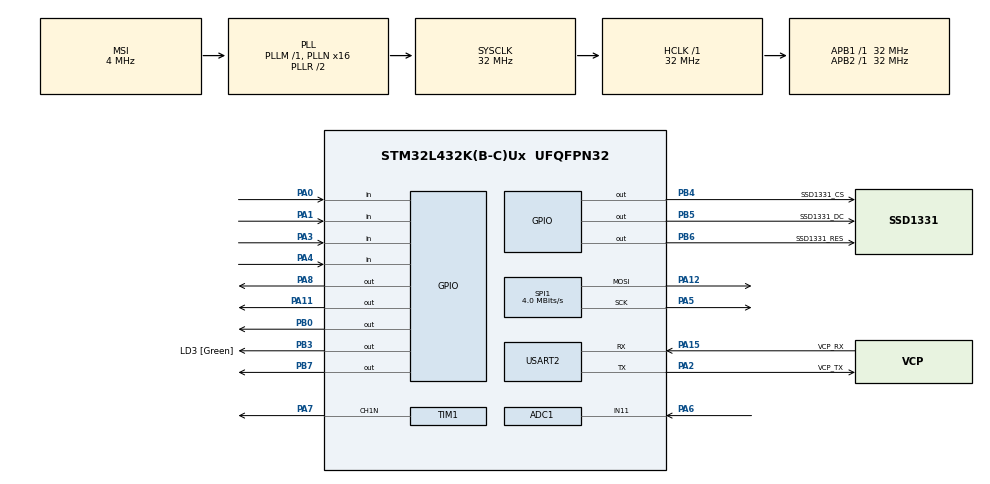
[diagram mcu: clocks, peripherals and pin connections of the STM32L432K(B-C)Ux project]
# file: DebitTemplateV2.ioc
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ADC1.Channel-0\#ChannelRegularConversion=ADC_CHANNEL_11
ADC1.NbrOfConversionFlag=1
ADC1.OffsetNumber-0\#ChannelRegularConversion=ADC_OFFSET_NONE
ADC1.Rank-0\#ChannelRegularConversion=1
ADC1.SamplingTime-0\#ChannelRegularConversion=ADC_SAMPLETIME_2CYCLES_5
ADC1.master=1
Mcu.Family=STM32L4
Mcu.Name=STM32L432K(B-C)Ux
Mcu.Package=UFQFPN32
NVIC.PriorityGroup=NVIC_PRIORITYGROUP_4
PA0.GPIO_PuPd=GPIO_PULLUP
PA0.Signal=GPIO_Input
PA1.GPIO_PuPd=GPIO_PULLUP
PA1.Signal=GPIO_Input
PA11.Signal=GPIO_Output
PA12.Mode=TX_Only_Simplex_Unidirect_Master
PA12.Signal=SPI1_MOSI
PA13\ (JTMS-SWDIO).GPIO_Label=SWDIO
PA13\ (JTMS-SWDIO).Mode=Serial_Wire
PA13\ (JTMS-SWDIO).Signal=SYS_JTMS-SWDIO
PA14\ (JTCK-SWCLK).GPIO_Label=SWCLK
PA14\ (JTCK-SWCLK).Mode=Serial_Wire
PA14\ (JTCK-SWCLK).Signal=SYS_JTCK-SWCLK
PA15\ (JTDI).GPIO_Label=VCP_RX
PA15\ (JTDI).Mode=Asynchronous
PA15\ (JTDI).Signal=USART2_RX
PA2.GPIO_Label=VCP_TX
PA2.Mode=Asynchronous
PA2.Signal=USART2_TX
PA3.GPIO_PuPd=GPIO_PULLUP
PA3.Signal=GPIO_Input
PA4.GPIO_PuPd=GPIO_PULLUP
PA4.Signal=GPIO_Input
PA5.Mode=TX_Only_Simplex_Unidirect_Master
PA5.Signal=SPI1_SCK
PA6.Signal=ADCx_IN11
PA7.Mode=PWM Generation1 CH1N
PA7.Signal=TIM1_CH1N
PA8.Signal=GPIO_Output
PB0.GPIO_PuPd=GPIO_PULLDOWN
PB0.Signal=GPIO_Output
PB3\ (JTDO-TRACESWO).GPIO_Label=LD3 [Green]
PB3\ (JTDO-TRACESWO).Signal=GPIO_Output
PB4\ (NJTRST).GPIO_Label=SSD1331_CS
PB4\ (NJTRST).Signal=GPIO_Output
PB5.GPIO_Label=SSD1331_DC
PB5.Signal=GPIO_Output
PB6.GPIO_Label=SSD1331_RES
PB6.Signal=GPIO_Output
PB7.GPIO_PuPd=GPIO_PULLDOWN
PB7.Signal=GPIO_Output
PC14-OSC32_IN\ (PC14).Mode=LSE-External-Oscillator
PC14-OSC32_IN\ (PC14).Signal=RCC_OSC32_IN
PC15-OSC32_OUT\ (PC15).Mode=LSE-External-Oscillator
PC15-OSC32_OUT\ (PC15).Signal=RCC_OSC32_OUT
ProjectManager.HeapSize=0x200
ProjectManager.StackSize=0x400
ProjectManager.TargetToolchain=STM32CubeIDE
RCC.ADCFreq_Value=32000000
RCC.AHBFreq_Value=32000000
RCC.APB1Freq_Value=32000000
RCC.APB1TimFreq_Value=32000000
RCC.APB2Freq_Value=32000000
RCC.APB2TimFreq_Value=32000000
RCC.CortexFreq_Value=32000000
RCC.HCLKFreq_Value=32000000
RCC.HSE_VALUE=8000000
RCC.HSI16_VALUE=16000000
RCC.HSI48_VALUE=48000000
RCC.HSI_VALUE=16000000
RCC.MSI_VALUE=4000000
RCC.PLLMUL=RCC_PLLMUL_4
RCC.PLLN=16
RCC.PLLSAI1N=16
RCC.SYSCLKFreq_VALUE=32000000
RCC.SYSCLKSource=RCC_SYSCLKSOURCE_PLLCLK
RCC.USBFreq_Value=32000000
RCC.VCOOutputFreq_Value=64000000
SH.ADCx_IN11.0=ADC1_IN11,IN11-Single-Ended
SPI1.BaudRatePrescaler=SPI_BAUDRATEPRESCALER_8
SPI1.CalculateBaudRate=4.0 MBits/s
SPI1.DataSize=SPI_DATASIZE_8BIT
SPI1.Direction=SPI_DIRECTION_2LINES
SPI1.Mode=SPI_MODE_MASTER
SPI1.VirtualType=VM_MASTER
TIM1.Channel-PWM\ Generation1\ CH1N=TIM_CHANNEL_1
TIM1.Period=100
USART2.VirtualMode-Asynchronous=VM_ASYNC
VP_TIM16_VS_ClockSourceINT.Mode=Enable_Timer
board=NUCLEO-L432KC

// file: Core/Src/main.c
/* USER CODE BEGIN Header */
/*******************************************************************************
 * FILE               : main.c
 * PROJECT			   : PROG8126 - #Assignment 4
 * PROGRAMMER		   : Vivek Solanki (8925804)
 * First Version	   : 04/10/2023
 * Description        : Demonstrates a debit machine banking transaction that implements a state machine.
 * State machine diagram is found on slide 14 of Week 9 Switch Statement and State Machine.pptx
 *
 * Switches are assigned as follows
 * note: these pins are set in the debounceInit functions and do not need to be configured in cube
 * PA0			PA1			PA4			PA3
 * chequing		savings		ok			cancel
 * Note: Don't use PA2 as it is connected to VCP TX and you'll
 * lose printf output ability.
 * ******************************************************************************
 */
/* USER CODE END Header */
#include "main.h"

/* USER CODE BEGIN Includes */
#include <unistd.h>
#include <stdio.h>
#include "debounce.h"
#include "ssd1331.h"
#include "fonts.h"
#include <stdbool.h>
#include <string.h>
/* USER CODE END Includes */

/* USER CODE BEGIN PTD */
typedef enum
{
	PUSHBUTTON_NONE,
	PUSHBUTTON_CHEQUING,
	PUSHBUTTON_SAVINGS,
	PUSHBUTTON_OKAY,
	PUSHBUTTON_CANCEL,
	PUSHBUTTON_MAX
} pushButton_e;

typedef enum
{
	TRANSACTION_STATE_WELCOME,
	TRANSACTION_STATE_OK_CANCEL,
	TRANSACTION_STATE_CHEQ_OR_SAVING,
	TRANSACTION_STATE_RECEIVE_PIN,
	TRANSACTION_STATE_VALIDATE_PIN,
	TRANSACTION_STATE_SUCCESS,
	TRANSACTION_STATE_FAILED,
	TRANSACTION_STATE_MAX
} transactionState_e;

typedef enum
{
	TRANSACTION_SUCCESSFULL,
	TRANSACTION_FAIL_INVALID_PIN,
	TRANSACTION_FAIL_INSUFICIENT_BALANCE,
	TRANSACTION_FAIL_USER_CALCELLED,
	TRANSACTION_FAIL_MAX
} transactionRespCode_e;
/* USER CODE END PTD */

/* USER CODE BEGIN PD */
// PIN of USERS for authorising payment
#define STRING_BUFF_LEN_MAX					26
#define	MAX_PIN_STORAGE						10
#define	MAX_PIN_LEN__MAX					5

const char PIN[10][5] = { "1234", "5678", "1357", "2468", "9876", "5432", "1000", "1618",
                "1278", "1148" };
char userEnteredPIN[5];
bool isAccessGranted = false;
transactionRespCode_e transactionFailCause = TRANSACTION_FAIL_MAX;
char stringBuffer[STRING_BUFF_LEN_MAX];
/* USER CODE END PD */

ADC_HandleTypeDef hadc1;

SPI_HandleTypeDef hspi1;

TIM_HandleTypeDef htim1;
TIM_HandleTypeDef htim16;

UART_HandleTypeDef huart2;

/* USER CODE BEGIN PV */
static const int16_t chequingPbPin = 0; //setting the pin assigned to each pb
static const int16_t savingsPbPin = 1;	//don't use pin 2 as it's connected
static const int16_t okPbPin = 3;		//to VCP TX
static const int16_t cancelPbPin = 4;
static transactionState_e transactionState = TRANSACTION_STATE_WELCOME;
static float chequingBalance = 10000.0;
static float savingBalance = 10000.0;
pushButton_e pbPressed = PUSHBUTTON_NONE; //will hold pushbutton defined above depending on
pushButton_e isChequingSaving = PUSHBUTTON_NONE;

/* USER CODE END PV */

void SystemClock_Config(void);
static void MX_GPIO_Init(void);
static void MX_USART2_UART_Init(void);
static void MX_TIM1_Init(void);
static void MX_SPI1_Init(void);
static void MX_TIM16_Init(void);
static void MX_ADC1_Init(void);
void displayRaminingBalance(void);
void displayTransactionSuccessFull();

/* USER CODE BEGIN 0 */

static void changeSpeakerFrequency(TIM_HandleTypeDef *htim,
		uint32_t newFrequency)
{

	//HAL_TIMEx_PWMN_Stop(htim, TIM_CHANNEL_1);

	// calculate the new period based off of frequency input
	uint32_t newPeriod = 1000000000 / (newFrequency * 250);

	TIM_ClockConfigTypeDef sClockSourceConfig = { 0 };
	TIM_MasterConfigTypeDef sMasterConfig = { 0 };
	TIM_OC_InitTypeDef sConfigOC = { 0 };
	TIM_BreakDeadTimeConfigTypeDef sBreakDeadTimeConfig = { 0 };

	htim->Instance = TIM1;
	htim->Init.Prescaler = 0;
	htim->Init.CounterMode = TIM_COUNTERMODE_UP;
	htim->Init.Period = newPeriod;
	htim->Init.ClockDivision = TIM_CLOCKDIVISION_DIV1;
	htim->Init.RepetitionCounter = 0;
	htim->Init.AutoReloadPreload = TIM_AUTORELOAD_PRELOAD_DISABLE;
	if (HAL_TIM_Base_Init(htim) != HAL_OK)
	{
		Error_Handler();
	}
	sClockSourceConfig.ClockSource = TIM_CLOCKSOURCE_INTERNAL;
	if (HAL_TIM_ConfigClockSource(htim, &sClockSourceConfig) != HAL_OK)
	{
		Error_Handler();
	}
	if (HAL_TIM_PWM_Init(htim) != HAL_OK)
	{
		Error_Handler();
	}
	sMasterConfig.MasterOutputTrigger = TIM_TRGO_RESET;
	sMasterConfig.MasterOutputTrigger2 = TIM_TRGO2_RESET;
	sMasterConfig.MasterSlaveMode = TIM_MASTERSLAVEMODE_DISABLE;
	if (HAL_TIMEx_MasterConfigSynchronization(htim, &sMasterConfig)
			!= HAL_OK)
	{
		Error_Handler();
	}
	sConfigOC.OCMode = TIM_OCMODE_PWM1;
	sConfigOC.Pulse = htim1.Init.Period/2;
	sConfigOC.OCPolarity = TIM_OCPOLARITY_HIGH;
	sConfigOC.OCNPolarity = TIM_OCNPOLARITY_HIGH;
	sConfigOC.OCFastMode = TIM_OCFAST_DISABLE;
	sConfigOC.OCIdleState = TIM_OCIDLESTATE_RESET;
	sConfigOC.OCNIdleState = TIM_OCNIDLESTATE_RESET;
	if (HAL_TIM_PWM_ConfigChannel(&htim1, &sConfigOC, TIM_CHANNEL_1)
			!= HAL_OK)
	{
		Error_Handler();
	}
	sBreakDeadTimeConfig.OffStateRunMode = TIM_OSSR_DISABLE;
	sBreakDeadTimeConfig.OffStateIDLEMode = TIM_OSSI_DISABLE;
	sBreakDeadTimeConfig.LockLevel = TIM_LOCKLEVEL_OFF;
	sBreakDeadTimeConfig.DeadTime = 0;
	sBreakDeadTimeConfig.BreakState = TIM_BREAK_DISABLE;
	sBreakDeadTimeConfig.BreakPolarity = TIM_BREAKPOLARITY_HIGH;
	sBreakDeadTimeConfig.BreakFilter = 0;
	sBreakDeadTimeConfig.Break2State = TIM_BREAK2_DISABLE;
	sBreakDeadTimeConfig.Break2Polarity = TIM_BREAK2POLARITY_HIGH;
	sBreakDeadTimeConfig.Break2Filter = 0;
	sBreakDeadTimeConfig.AutomaticOutput = TIM_AUTOMATICOUTPUT_DISABLE;
	if (HAL_TIMEx_ConfigBreakDeadTime(htim, &sBreakDeadTimeConfig)
			!= HAL_OK)
	{
		Error_Handler();
	}
	HAL_TIM_MspPostInit(htim);

	// must restart the timer once changes are complete
	HAL_TIMEx_PWMN_Start(htim, TIM_CHANNEL_1);
}

/*******************************************************************************
  * FUNCTION      : ErrorSound()
  * PARAMETERS    : none
  * RETURNS       : none
  * DESCRIPTION   : Play the error sound on speaker connected on PA7
  * ******************************************************************************
  */
void ErrorSound()
{
//	printf("Playing error sound\n\r");
	for(uint8_t count = 0; count < 10; count++)
	{
		for(uint16_t freq = 0; freq < 5000; freq+=500)
		{
//			printf("Error freq=%u\r\n", freq);			// print out the new frequency
			changeSpeakerFrequency(&htim1, freq);	// set new frequency
			HAL_Delay(10);						// delay for 1 second
		}
	}

	HAL_TIMEx_PWMN_Stop(&htim1,TIM_CHANNEL_1);

//	changeSpeakerFrequency(&htim1, 0);	// set new frequency
}

/*******************************************************************************
  * FUNCTION      : SuccessSound()
  * PARAMETERS    : none
  * RETURNS       : none
  * DESCRIPTION   : Play the success sound on speaker connected on PA7
  * ******************************************************************************
  */
void SuccessSound()
{
	uint8_t count = 0;

	if(count < 1)
	{
		for(uint16_t freq = 3000; freq > 0; freq -= 200)
		{
//			printf("Success freq=%u\r\n", freq);			// print out the new frequency
			changeSpeakerFrequency(&htim1, freq);	// set new frequency
			HAL_Delay(35);						// delay for 1 second
		}
		count++;
	}
	HAL_TIMEx_PWMN_Stop(&htim1,TIM_CHANNEL_1);
//	changeSpeakerFrequency(&htim1, 0);	// set new frequency
}

/*******************************************************************************
 * FUNCTION      : waitForPBRelease
 * PARAMETERS    : pin - pin number , port- port letter ie 'A'
 * RETURNS       : nothing
 * DESCRIPTION   : Loops until the PB that is currently
 * 				pressed and at a logic low is released. Release is debounced
 *
 *
 *******************************************************************************
 */
void waitForPBRelease(const int16_t pin, const char port)
{
	while (deBounceReadPin (pin, port, 10) == 0)
	{
		//do nothing wait for key press to be released
	}
}

/*******************************************************************************
 * FUNCTION      : startUpOLEDSplashScreen
 * PARAMETERS    : None
 * RETURNS       : nothing
 * DESCRIPTION   : displays Debit Demo for 2s
 * 				on line 1 of the display and
 * 				Disappears
 *
 *
 *******************************************************************************
 */
void startUpOLEDSplashScreen(void)
{
	char stringBuffer[16] = { 0 };
	snprintf (stringBuffer, sizeof(stringBuffer), "   Debit Demo");
	ssd1331_display_string (0, 0, stringBuffer, FONT_1206, GOLDEN);
	HAL_Delay (2000);
	ssd1331_clear_screen (BLACK);
}

/*******************************************************************************
 * FUNCTION      : pulsePWM
 * PARAMETERS    : address of Timer Handle var (e.g.: &htim1) , pulseTime in ms
 * RETURNS       : nothing
 * DESCRIPTION   : Turns on the PWM for the pulseTime in ms
 * 				provided and then turns off PWM
 *
 *******************************************************************************
 */
void pulsePWM(TIM_HandleTypeDef *htim1, int32_t pulseTime)
{
	HAL_TIMEx_PWMN_Start (htim1, TIM_CHANNEL_1);
	HAL_Delay (pulseTime);
	HAL_TIMEx_PWMN_Stop (htim1, TIM_CHANNEL_1);
}

/*******************************************************************************
 * FUNCTION      : pushButtonInit
 * PARAMETERS    : None
 * RETURNS       : nothing
 * DESCRIPTION   : Calls deBounceInit to initialize ports that
 will have pushbutton on them to be inputs.
 Initializing PA0,PA1,PA4 and PA3
 Switches are assigned as follows
 PA0			PA1			PA4			PA3
 chequing	savings		ok			cancel
 Note: Don't use PA2 as it is connected to VCP TX and you'll
 lose printf output ability.
 *
 *******************************************************************************
 */
void pushButtonInit(void)
{
	deBounceInit (chequingPbPin, 'A', 1); 		//1 = pullup resistor enabled
	deBounceInit (savingsPbPin, 'A', 1); 		//1 = pullup resistor enabled
	deBounceInit (okPbPin, 'A', 1); 			//1 = pullup resistor enabled
	deBounceInit (cancelPbPin, 'A', 1); 		//1 = pullup resistor enabled
}

/*******************************************************************************
 * FUNCTION      : displayWelcome
 * PARAMETERS    : None
 * RETURNS       : nothing
 * DESCRIPTION   : clears the OLED display and displays
 * 				Welcome on line 1 of the display
 *******************************************************************************
 */
void displayWelcome(void)
{
	char stringBuffer[STRING_BUFF_LEN_MAX] = { 0 };

	ssd1331_clear_screen (BLACK);
	snprintf (stringBuffer, sizeof(stringBuffer), "   Welcome ");
	ssd1331_display_string (4, 0, stringBuffer, FONT_1206, WHITE);
}

/*******************************************************************************
 * FUNCTION      : controlLEDSpeaker
 * PARAMETERS    : iTransactionState ATM machine transaction state
 * RETURNS       : None
 * DESCRIPTION   :	Glows LED as per ATM machine transaction state
 *******************************************************************************
 */
static void controlLEDSpeaker(transactionState_e iTransactionState)
{
	switch (iTransactionState)
	{
		case TRANSACTION_STATE_SUCCESS:
		{
			HAL_GPIO_WritePin (GPIOA, GPIO_PIN_11, GPIO_PIN_RESET);		//Red LED OFF
			HAL_GPIO_WritePin (GPIOA, GPIO_PIN_8, GPIO_PIN_SET);		//Green LED ON
			SuccessSound();
			HAL_Delay (3000);
			HAL_GPIO_WritePin (GPIOA, GPIO_PIN_8, GPIO_PIN_RESET);		//Green LED OFF

			break;
		}
		case TRANSACTION_STATE_FAILED:
		{
			HAL_GPIO_WritePin (GPIOA, GPIO_PIN_8, GPIO_PIN_RESET);		//Green LED OFF
			HAL_GPIO_WritePin (GPIOA, GPIO_PIN_11, GPIO_PIN_SET);		//Red LED ON
			ErrorSound();

			HAL_Delay (3000);
			HAL_GPIO_WritePin (GPIOA, GPIO_PIN_11, GPIO_PIN_RESET);		//Red LED OFF
			break;
		}
		default:
		{
			HAL_GPIO_WritePin (GPIOA, GPIO_PIN_8, GPIO_PIN_RESET);		//Green LED OFF
			HAL_GPIO_WritePin (GPIOA, GPIO_PIN_11, GPIO_PIN_RESET);		//Red LED OFF
			break;
		}
	}
}

/*******************************************************************************
 * FUNCTION      : controlOLED
 * PARAMETERS    : transactionState_e iTransactionState,transactionRespCode_e iTransactionRespCode
 * RETURNS       : None
 * DESCRIPTION   : This function displays text on OLED as per
 * 				   Input parameter
 *
 *******************************************************************************
 */
static void controlOLED(transactionState_e iTransactionState,
                transactionRespCode_e iTransactionRespCode)
{
	char stringBuffer[STRING_BUFF_LEN_MAX] = { 0 };

	switch (iTransactionState)
	{
		case TRANSACTION_STATE_SUCCESS:
		{
			displayTransactionSuccessFull ();
			break;
		}

		case TRANSACTION_STATE_FAILED:
		{
			switch (iTransactionRespCode)
			{
				case TRANSACTION_FAIL_INVALID_PIN:
				{
					snprintf (stringBuffer, sizeof(stringBuffer), "%s", "Invalid Pin");

					break;
				}

				case TRANSACTION_FAIL_INSUFICIENT_BALANCE:
				{
					snprintf (stringBuffer, sizeof(stringBuffer), "%s",
					          "Insuficient balance");
					break;
				}

				case TRANSACTION_FAIL_USER_CALCELLED:
				{
					snprintf (stringBuffer, sizeof(stringBuffer), "%s",
					          "Cancled by user");
					break;
				}

				default:
				{
					snprintf (stringBuffer, sizeof(stringBuffer), "%s", "");
					break;
				}
			}

			ssd1331_clear_screen (BLACK);

			ssd1331_display_string (0, 2, "Transaction Failed", FONT_1206, RED);
			ssd1331_display_string (0, 18, stringBuffer, FONT_1206, BLUE);
			controlLEDSpeaker (iTransactionState);
			ssd1331_clear_screen (BLACK);
			displayWelcome ();

			break;
		}

		default:
		{
			break;
		}
	}
}

/*******************************************************************************
 * FUNCTION      : displayAmount
 * PARAMETERS    : float - amount(entered by user)
 * RETURNS       : none
 * DESCRIPTION   : clears the OLED display and displays
 *					the $amount received on line 1 of the display
 *******************************************************************************
 */
void displayAmount(float amount)
{
	char stringBuffer[STRING_BUFF_LEN_MAX] = { 0 };

	ssd1331_clear_screen (BLACK);
	snprintf (stringBuffer, sizeof(stringBuffer), "$%.2f", amount);
	ssd1331_display_string (0, 0, stringBuffer, FONT_1206, WHITE);
}

/*******************************************************************************
 * FUNCTION      : checkIfAmountRecd
 * PARAMETERS    : float, the amount in $ to be debited
 * RETURNS       : None
 * DESCRIPTION   : Checks that does user entered amount or not
 *
 *******************************************************************************
 */
float checkIfAmountRecd()
{
	float debitAmount = 0;

	int16_t result = 0;

	printf ("waiting for debitAmount to be received on serial port\r\n"); //}
	result = scanf ("%f", &debitAmount);
	if (result == 0)		//then somehow non-float chars were entered
	{						//and nothing was assigned to %f
		return 0;
	}
	return debitAmount;
}

/*******************************************************************************
 * FUNCTION      : checkOkOrCancel
 * PARAMETERS    : None
 * RETURNS       : int8_t, BUTTONSTATE_CANCEL if cancel pressed, BUTTONSTATE_OKAY if ok
 *                 ok pressed. 0 returned if neither
 *                 has pressed.
 * DESCRIPTION   : Checks whether the OK or Cancel
 * 				button has been pressed.
 *
 *******************************************************************************
 */
pushButton_e checkOkOrCancel(void)
{
	if (deBounceReadPin (cancelPbPin, 'A', 10) == 0)
	{
		//then the cancel pushbutton has been pressed
		return PUSHBUTTON_CANCEL;
	}
	else if (deBounceReadPin (okPbPin, 'A', 10) == 0)
	{
		//then ok pressed
		return PUSHBUTTON_OKAY;
	}
	return PUSHBUTTON_NONE; //as ok or cancel was not pressed.
}

/*******************************************************************************
 * FUNCTION      : checkSavingsOrChequing
 * PARAMETERS    : None
 * RETURNS       : pushButton_e, PUSHBUTTON_SAVINGS if savings pressed, PUSHBUTTON_CHEQUING if chequing pressed. PUSHBUTTON_NONE returned if neither has pressed.
 * DESCRIPTION   : Checks whether the chequing or Savings button has been pressed.
 *
 *******************************************************************************
 */
pushButton_e checkSavingsOrChequing(void)
{
	if (deBounceReadPin (chequingPbPin, 'A', 10) == 0)
	{
		return PUSHBUTTON_CHEQUING;		//then the chequing pushbutton has been pressed
	}

	else if (deBounceReadPin (savingsPbPin, 'A', 10) == 0)
	{
		return PUSHBUTTON_SAVINGS;				//then savings pressed
	}
	else if (deBounceReadPin (cancelPbPin, 'A', 20) == 0)
	{
		return PUSHBUTTON_CANCEL;			//then the cancel pushbutton has been pressed
	}
	return PUSHBUTTON_NONE; 					//as chequing or savings was not pressed.
}

/*******************************************************************************
 * FUNCTION      : displayEnterPin
 * PARAMETERS    : None
 * RETURNS       : None
 * DESCRIPTION   : displays "Enter the Pin" on line 2 of OLED
 *
 *******************************************************************************
 */
void displayEnterPin(void)
{
	ssd1331_clear_screen (BLACK);
	snprintf (stringBuffer, 25, "Enter the PIN");
	ssd1331_display_string (0, 10, stringBuffer, FONT_1206, WHITE);
	HAL_Delay (100);
}

/*******************************************************************************
 * FUNCTION      : displaytransactioncancelled
 * PARAMETERS    : None
 * RETURNS       : None
 * DESCRIPTION   : displays "transaction is cancelled" on line 2 of OLED
 *
 *******************************************************************************
 */
void displayTransactionSuccessFull()
{
	char stringBuffer[STRING_BUFF_LEN_MAX] = { 0 };
	uint8_t tIdx = 0;

	ssd1331_clear_screen (BLACK);
	snprintf (stringBuffer, 25, "Transaction is approved");
	ssd1331_display_string (0, 10, stringBuffer, FONT_1206, GREEN);

	controlLEDSpeaker (TRANSACTION_STATE_SUCCESS);

	ssd1331_clear_screen (BLACK);
	displayRaminingBalance ();

	pbPressed = checkOkOrCancel ();
	pbPressed = PUSHBUTTON_OKAY;

	if (pbPressed != PUSHBUTTON_NONE)
	{
		if (pbPressed == PUSHBUTTON_CANCEL)
		{
			//then cancel was pressed.
			printf ("Cancel Pressed\r\n");
		}
		else if (pbPressed == PUSHBUTTON_OKAY)
		{
			memset (stringBuffer, 0, sizeof(stringBuffer));
			//then ok pressed
			printf ("OK Pressed\r\n");
			ssd1331_clear_screen (BLACK);

			ssd1331_clear_screen (BLACK);
			tIdx = snprintf (stringBuffer, sizeof(stringBuffer), "%s", "Balance.:$");
			if (isChequingSaving == PUSHBUTTON_CHEQUING)
			{
				snprintf (stringBuffer + tIdx, sizeof(stringBuffer) - tIdx, "%.1f",
				          chequingBalance);
				printf ("chequingBalance = %f\r\n", chequingBalance);
			}
			else if (isChequingSaving == PUSHBUTTON_SAVINGS)
			{
				snprintf (stringBuffer + tIdx, sizeof(stringBuffer) - tIdx, "%.1f",
				          savingBalance);
				printf ("savingBalance = %f\r\n", savingBalance);
			}
			ssd1331_display_string (0, 0, stringBuffer, FONT_1206, PURPLE);
			tIdx = 0;
		}
	}

	HAL_Delay (2000);
	ssd1331_clear_screen (BLACK);
	snprintf (stringBuffer, 25, "Thank you");
	ssd1331_display_string (0, 10, stringBuffer, FONT_1206, WHITE);
	HAL_Delay (2000);
	ssd1331_clear_screen (BLACK);
	displayWelcome ();
}

/*******************************************************************************
 * FUNCTION      : displaySavingsChequing
 * PARAMETERS    : None
 * RETURNS       : None
 * DESCRIPTION   : displays "Savings or Chequing?" on line 2 of OLED
 *
 *******************************************************************************
 */
void displaySavingsChequing(void)
{
	ssd1331_clear_screen (BLACK);
	snprintf (stringBuffer, sizeof(stringBuffer), "Savings or Chequing?");
	ssd1331_display_string (0, 10, stringBuffer, FONT_1206, WHITE);
}

/*******************************************************************************
 * FUNCTION      : displayRaminingBalance
 * PARAMETERS    : None
 * RETURNS       : None
 * DESCRIPTION   : displays "Show available balance?" on line 1 of OLED
 *
 *******************************************************************************
 */
void displayRaminingBalance(void)
{
	ssd1331_clear_screen (BLACK);
	snprintf (stringBuffer, sizeof(stringBuffer), "Show available balance?");
	ssd1331_display_string (0, 2, stringBuffer, FONT_1206, CYAN);
	HAL_Delay (1000);

}

/*******************************************************************************
 * FUNCTION      : validatePin
 * PARAMETERS    : None
 * RETURNS       : None
 * DESCRIPTION   : check the pin entered and compare with globally defined PIN
 *
 *******************************************************************************
 */
void validatePin(char *userEnteredPIN)
{
	scanf ("%s", userEnteredPIN);
	printf ("Entered PIN is %s\r\n", userEnteredPIN);
	for (int i = 0; i < 10; i++)
	{
		if (strcmp (userEnteredPIN, PIN[i]) == 0)
		{
			isAccessGranted = 1;
			break;
		}
	}
}

/*******************************************************************************
 * FUNCTION      : WaitforResponse
 * PARAMETERS    : None
 * RETURNS       : None
 * DESCRIPTION   : wait for response from the bank and print message based on that
 *
 *******************************************************************************
 */
transactionState_e WaitforResponse(void)
{
	if (isAccessGranted == 1)					//transaction approved i.e pin is correct
	{
		printf ("transaction is approved\r\n");
		return TRANSACTION_STATE_SUCCESS;

	}
	else										//transaction denied i.e pin is incorrect
	{
		transactionFailCause = TRANSACTION_FAIL_INVALID_PIN;
		printf ("transaction is denied\r\n");
		return TRANSACTION_STATE_FAILED;
	}
}

/*******************************************************************************
 * FUNCTION      : displayOkOrCancel
 * PARAMETERS    : None
 * RETURNS       : None
 * DESCRIPTION   : displays "OK or Cancel?" on line 2 of OLED
 *
 *******************************************************************************
 */
void displayOkCancel(void)
{
	char stringBuffer[16] = { 0 };
	snprintf (stringBuffer, 16, "OK or Cancel?");
	ssd1331_display_string (0, 10, stringBuffer, FONT_1206, WHITE);
}

/* USER CODE END 0 */

int main(void)
{

  /* MCU Configuration--------------------------------------------------------*/

  /* Reset of all peripherals, Initializes the Flash interface and the Systick. */
  HAL_Init();

  /* Configure the system clock */
  SystemClock_Config();

  /* Initialize all configured peripherals */
  MX_GPIO_Init();
  MX_USART2_UART_Init();
  MX_TIM1_Init();
  MX_SPI1_Init();
  MX_TIM16_Init();
  MX_ADC1_Init();
  /* USER CODE BEGIN 2 */

	// initialize the OLED
	ssd1331_init ();

	/* setup Port A bits 0,1,2 and 3, i.e.: PA0-PA3 for input */
	pushButtonInit ();
	startUpOLEDSplashScreen ();
	HAL_Delay (1000);
	displayWelcome ();
	HAL_Delay (1000);

  /* USER CODE END 2 */

  /* Infinite loop */
	while (1)
	{

    /* USER CODE BEGIN 3 */
		static float amount = 0;             	//used to hold the transaction amount
		//the pushbutton pressed
		/*states:
		 1   display Welcome Screen, wait for $ amount input from Serial port
		 2   @ amount Received, waiting for Ok or Cancel button
		 3   OK received, waiting for chequing or Savings button
		 4   C or S received, waiting for PIN to be entered from Serial Port
		 5   Pin Correct, send transaction data to bank. Waiting
		 for OK back from Bank If OK from Bank received. Print
		 Receipt, Record transaction. Move back to State 1.
		 6   Cancel Pressed. Display "Transaction Cancelled" back to state 1
		 */
		switch (transactionState)
		{
			case TRANSACTION_STATE_WELCOME: 	//checking if an amount has been received
			{
				printf ("\033[0H\033[0J");
				amount = checkIfAmountRecd ();
				if (amount != 0)        //returns a 0 if an transaction amount has
				{ 						//NOT been received on the serial port.
					displayAmount (amount); //but if we're we've received a debitAmount
					displayOkCancel ();	//so display it and the prompt ok or cancel
					transactionState = TRANSACTION_STATE_OK_CANCEL;	//and do that before we move on to state 2
				}
				break;
			}

			case TRANSACTION_STATE_OK_CANCEL: 		//amount has been received waiting for
			{
				pbPressed = checkOkOrCancel ();

				if (pbPressed != PUSHBUTTON_NONE)
				{
					if (pbPressed == PUSHBUTTON_CANCEL)
					{
						//then cancel was pressed.
						printf ("Cancel Pressed\r\n");
						transactionState = TRANSACTION_STATE_FAILED;
						transactionFailCause = TRANSACTION_FAIL_USER_CALCELLED;
					}
					else if (pbPressed == PUSHBUTTON_OKAY)
					{
						//then ok pressed
						printf ("OK Pressed\r\n");
						displaySavingsChequing ();
						transactionState = TRANSACTION_STATE_CHEQ_OR_SAVING;

					}
				}
				break;
			}

			case TRANSACTION_STATE_CHEQ_OR_SAVING:
			{
				isChequingSaving = checkSavingsOrChequing ();

				if (isChequingSaving != PUSHBUTTON_NONE)
				{
					if (isChequingSaving == PUSHBUTTON_CHEQUING)
					{
						if (chequingBalance - amount <= 0.0) // Check that user has sufficient fund in chequing account
						{
							transactionState = TRANSACTION_STATE_FAILED;
							transactionFailCause = TRANSACTION_FAIL_INSUFICIENT_BALANCE;
							break;
						}
						printf ("chequing Pressed\r\n");	//then chequing was pressed.
						transactionState = TRANSACTION_STATE_RECEIVE_PIN;
					}
					else if (isChequingSaving == PUSHBUTTON_SAVINGS)
					{
						if (savingBalance - amount <= 0.0) // Check that user has sufficient fund in saving account
						{
							transactionState = TRANSACTION_STATE_FAILED;
							transactionFailCause = TRANSACTION_FAIL_INSUFICIENT_BALANCE;
							break;
						}
						printf ("savings Pressed\r\n");				//then savings pressed
						transactionState = TRANSACTION_STATE_RECEIVE_PIN;
					}
					else if (isChequingSaving == PUSHBUTTON_CANCEL)
					{
						printf ("Cancel Pressed\r\n");			//then cancel was pressed.
						transactionState = TRANSACTION_STATE_FAILED;
					}
				}
				break;
			}

			case TRANSACTION_STATE_RECEIVE_PIN:
			{
				printf ("Enter the PIN\r\n");

				displayEnterPin ();
				pbPressed = checkOkOrCancel ();
				if (pbPressed == PUSHBUTTON_CANCEL)
				{
					//then cancel was pressed.
					printf ("Cancel Pressed\r\n");
					transactionState = TRANSACTION_STATE_FAILED;
				}
				transactionState = TRANSACTION_STATE_VALIDATE_PIN;
				break;
			}

			case TRANSACTION_STATE_VALIDATE_PIN:
			{
				validatePin (userEnteredPIN);		//check the pin entered
				printf ("In validating Pin\r\n");
				transactionState = WaitforResponse ();	//display message on OLED based on the response received from bank
				break;
			}

			case TRANSACTION_STATE_SUCCESS:
			{
				switch (isChequingSaving)
				{
					case PUSHBUTTON_CHEQUING:
					{
						chequingBalance = chequingBalance - amount;	// Deduct the successfully debited amount
						break;
					}
					case PUSHBUTTON_SAVINGS:
					{
						savingBalance = savingBalance - amount;	// Deduct the successfully debited amount
						break;
					}
					default:
					{
						break;
					}
				}

				controlOLED (transactionState, TRANSACTION_SUCCESSFULL);

				transactionState = TRANSACTION_STATE_WELCOME;
				break;
			}
			case TRANSACTION_STATE_FAILED:
			{
				//transaction is cancelled
				controlOLED (transactionState, transactionFailCause);
				transactionState = TRANSACTION_STATE_WELCOME;
				break;
			}

			default:
			{
				break;
			}
		} //closing brace for switch

	}
  /* USER CODE END 3 */
}

void SystemClock_Config(void)
{
  RCC_OscInitTypeDef RCC_OscInitStruct = {0};
  RCC_ClkInitTypeDef RCC_ClkInitStruct = {0};

  /** Configure the main internal regulator output voltage
  */
  if (HAL_PWREx_ControlVoltageScaling(PWR_REGULATOR_VOLTAGE_SCALE1) != HAL_OK)
  {
    Error_Handler();
  }

  /** Configure LSE Drive Capability
  */
  HAL_PWR_EnableBkUpAccess();
  __HAL_RCC_LSEDRIVE_CONFIG(RCC_LSEDRIVE_LOW);

  /** Initializes the RCC Oscillators according to the specified parameters
  * in the RCC_OscInitTypeDef structure.
  */
  RCC_OscInitStruct.OscillatorType = RCC_OSCILLATORTYPE_LSE|RCC_OSCILLATORTYPE_MSI;
  RCC_OscInitStruct.LSEState = RCC_LSE_ON;
  RCC_OscInitStruct.MSIState = RCC_MSI_ON;
  RCC_OscInitStruct.MSICalibrationValue = 0;
  RCC_OscInitStruct.MSIClockRange = RCC_MSIRANGE_6;
  RCC_OscInitStruct.PLL.PLLState = RCC_PLL_ON;
  RCC_OscInitStruct.PLL.PLLSource = RCC_PLLSOURCE_MSI;
  RCC_OscInitStruct.PLL.PLLM = 1;
  RCC_OscInitStruct.PLL.PLLN = 16;
  RCC_OscInitStruct.PLL.PLLP = RCC_PLLP_DIV7;
  RCC_OscInitStruct.PLL.PLLQ = RCC_PLLQ_DIV2;
  RCC_OscInitStruct.PLL.PLLR = RCC_PLLR_DIV2;
  if (HAL_RCC_OscConfig(&RCC_OscInitStruct) != HAL_OK)
  {
    Error_Handler();
  }

  /** Initializes the CPU, AHB and APB buses clocks
  */
  RCC_ClkInitStruct.ClockType = RCC_CLOCKTYPE_HCLK|RCC_CLOCKTYPE_SYSCLK
                              |RCC_CLOCKTYPE_PCLK1|RCC_CLOCKTYPE_PCLK2;
  RCC_ClkInitStruct.SYSCLKSource = RCC_SYSCLKSOURCE_PLLCLK;
  RCC_ClkInitStruct.AHBCLKDivider = RCC_SYSCLK_DIV1;
  RCC_ClkInitStruct.APB1CLKDivider = RCC_HCLK_DIV1;
  RCC_ClkInitStruct.APB2CLKDivider = RCC_HCLK_DIV1;

  if (HAL_RCC_ClockConfig(&RCC_ClkInitStruct, FLASH_LATENCY_1) != HAL_OK)
  {
    Error_Handler();
  }

  /** Enable MSI Auto calibration
  */
  HAL_RCCEx_EnableMSIPLLMode();
}

static void MX_ADC1_Init(void)
{

  ADC_ChannelConfTypeDef sConfig = {0};

  /** Common config
  */
  hadc1.Instance = ADC1;
  hadc1.Init.ClockPrescaler = ADC_CLOCK_ASYNC_DIV1;
  hadc1.Init.Resolution = ADC_RESOLUTION_12B;
  hadc1.Init.DataAlign = ADC_DATAALIGN_RIGHT;
  hadc1.Init.ScanConvMode = ADC_SCAN_DISABLE;
  hadc1.Init.EOCSelection = ADC_EOC_SINGLE_CONV;
  hadc1.Init.LowPowerAutoWait = DISABLE;
  hadc1.Init.ContinuousConvMode = DISABLE;
  hadc1.Init.NbrOfConversion = 1;
  hadc1.Init.DiscontinuousConvMode = DISABLE;
  hadc1.Init.ExternalTrigConv = ADC_SOFTWARE_START;
  hadc1.Init.ExternalTrigConvEdge = ADC_EXTERNALTRIGCONVEDGE_NONE;
  hadc1.Init.DMAContinuousRequests = DISABLE;
  hadc1.Init.Overrun = ADC_OVR_DATA_PRESERVED;
  hadc1.Init.OversamplingMode = DISABLE;
  if (HAL_ADC_Init(&hadc1) != HAL_OK)
  {
    Error_Handler();
  }

  /** Configure Regular Channel
  */
  sConfig.Channel = ADC_CHANNEL_11;
  sConfig.Rank = ADC_REGULAR_RANK_1;
  sConfig.SamplingTime = ADC_SAMPLETIME_2CYCLES_5;
  sConfig.SingleDiff = ADC_SINGLE_ENDED;
  sConfig.OffsetNumber = ADC_OFFSET_NONE;
  sConfig.Offset = 0;
  if (HAL_ADC_ConfigChannel(&hadc1, &sConfig) != HAL_OK)
  {
    Error_Handler();
  }

}

static void MX_SPI1_Init(void)
{

  /* SPI1 parameter configuration*/
  hspi1.Instance = SPI1;
  hspi1.Init.Mode = SPI_MODE_MASTER;
  hspi1.Init.Direction = SPI_DIRECTION_2LINES;
  hspi1.Init.DataSize = SPI_DATASIZE_8BIT;
  hspi1.Init.CLKPolarity = SPI_POLARITY_LOW;
  hspi1.Init.CLKPhase = SPI_PHASE_1EDGE;
  hspi1.Init.NSS = SPI_NSS_SOFT;
  hspi1.Init.BaudRatePrescaler = SPI_BAUDRATEPRESCALER_8;
  hspi1.Init.FirstBit = SPI_FIRSTBIT_MSB;
  hspi1.Init.TIMode = SPI_TIMODE_DISABLE;
  hspi1.Init.CRCCalculation = SPI_CRCCALCULATION_DISABLE;
  hspi1.Init.CRCPolynomial = 7;
  hspi1.Init.CRCLength = SPI_CRC_LENGTH_DATASIZE;
  hspi1.Init.NSSPMode = SPI_NSS_PULSE_ENABLE;
  if (HAL_SPI_Init(&hspi1) != HAL_OK)
  {
    Error_Handler();
  }

}

static void MX_TIM1_Init(void)
{

  TIM_MasterConfigTypeDef sMasterConfig = {0};
  TIM_OC_InitTypeDef sConfigOC = {0};
  TIM_BreakDeadTimeConfigTypeDef sBreakDeadTimeConfig = {0};

  htim1.Instance = TIM1;
  htim1.Init.Prescaler = 0;
  htim1.Init.CounterMode = TIM_COUNTERMODE_UP;
  htim1.Init.Period = 100;
  htim1.Init.ClockDivision = TIM_CLOCKDIVISION_DIV1;
  htim1.Init.RepetitionCounter = 0;
  htim1.Init.AutoReloadPreload = TIM_AUTORELOAD_PRELOAD_DISABLE;
  if (HAL_TIM_PWM_Init(&htim1) != HAL_OK)
  {
    Error_Handler();
  }
  sMasterConfig.MasterOutputTrigger = TIM_TRGO_RESET;
  sMasterConfig.MasterOutputTrigger2 = TIM_TRGO2_RESET;
  sMasterConfig.MasterSlaveMode = TIM_MASTERSLAVEMODE_DISABLE;
  if (HAL_TIMEx_MasterConfigSynchronization(&htim1, &sMasterConfig) != HAL_OK)
  {
    Error_Handler();
  }
  sConfigOC.OCMode = TIM_OCMODE_PWM1;
  sConfigOC.Pulse = 0;
  sConfigOC.OCPolarity = TIM_OCPOLARITY_HIGH;
  sConfigOC.OCNPolarity = TIM_OCNPOLARITY_HIGH;
  sConfigOC.OCFastMode = TIM_OCFAST_DISABLE;
  sConfigOC.OCIdleState = TIM_OCIDLESTATE_RESET;
  sConfigOC.OCNIdleState = TIM_OCNIDLESTATE_RESET;
  if (HAL_TIM_PWM_ConfigChannel(&htim1, &sConfigOC, TIM_CHANNEL_1) != HAL_OK)
  {
    Error_Handler();
  }
  sBreakDeadTimeConfig.OffStateRunMode = TIM_OSSR_DISABLE;
  sBreakDeadTimeConfig.OffStateIDLEMode = TIM_OSSI_DISABLE;
  sBreakDeadTimeConfig.LockLevel = TIM_LOCKLEVEL_OFF;
  sBreakDeadTimeConfig.DeadTime = 0;
  sBreakDeadTimeConfig.BreakState = TIM_BREAK_DISABLE;
  sBreakDeadTimeConfig.BreakPolarity = TIM_BREAKPOLARITY_HIGH;
  sBreakDeadTimeConfig.BreakFilter = 0;
  sBreakDeadTimeConfig.Break2State = TIM_BREAK2_DISABLE;
  sBreakDeadTimeConfig.Break2Polarity = TIM_BREAK2POLARITY_HIGH;
  sBreakDeadTimeConfig.Break2Filter = 0;
  sBreakDeadTimeConfig.AutomaticOutput = TIM_AUTOMATICOUTPUT_DISABLE;
  if (HAL_TIMEx_ConfigBreakDeadTime(&htim1, &sBreakDeadTimeConfig) != HAL_OK)
  {
    Error_Handler();
  }
  HAL_TIM_MspPostInit(&htim1);

}

static void MX_TIM16_Init(void)
{

  htim16.Instance = TIM16;
  htim16.Init.Prescaler = 0;
  htim16.Init.CounterMode = TIM_COUNTERMODE_UP;
  htim16.Init.Period = 65535;
  htim16.Init.ClockDivision = TIM_CLOCKDIVISION_DIV1;
  htim16.Init.RepetitionCounter = 0;
  htim16.Init.AutoReloadPreload = TIM_AUTORELOAD_PRELOAD_DISABLE;
  if (HAL_TIM_Base_Init(&htim16) != HAL_OK)
  {
    Error_Handler();
  }

}

static void MX_USART2_UART_Init(void)
{

  huart2.Instance = USART2;
  huart2.Init.BaudRate = 115200;
  huart2.Init.WordLength = UART_WORDLENGTH_8B;
  huart2.Init.StopBits = UART_STOPBITS_1;
  huart2.Init.Parity = UART_PARITY_NONE;
  huart2.Init.Mode = UART_MODE_TX_RX;
  huart2.Init.HwFlowCtl = UART_HWCONTROL_NONE;
  huart2.Init.OverSampling = UART_OVERSAMPLING_16;
  huart2.Init.OneBitSampling = UART_ONE_BIT_SAMPLE_DISABLE;
  huart2.AdvancedInit.AdvFeatureInit = UART_ADVFEATURE_NO_INIT;
  if (HAL_UART_Init(&huart2) != HAL_OK)
  {
    Error_Handler();
  }

}

static void MX_GPIO_Init(void)
{
  GPIO_InitTypeDef GPIO_InitStruct = {0};

  /* GPIO Ports Clock Enable */
  __HAL_RCC_GPIOC_CLK_ENABLE();
  __HAL_RCC_GPIOA_CLK_ENABLE();
  __HAL_RCC_GPIOB_CLK_ENABLE();

  /*Configure GPIO pin Output Level */
  HAL_GPIO_WritePin(GPIOB, GPIO_PIN_0|LD3_Pin|SSD1331_CS_Pin|SSD1331_DC_Pin
                          |SSD1331_RES_Pin|GPIO_PIN_7, GPIO_PIN_RESET);

  /*Configure GPIO pin Output Level */
  HAL_GPIO_WritePin(GPIOA, GPIO_PIN_8|GPIO_PIN_11, GPIO_PIN_RESET);

  /*Configure GPIO pins : PA0 PA1 PA3 PA4 */
  GPIO_InitStruct.Pin = GPIO_PIN_0|GPIO_PIN_1|GPIO_PIN_3|GPIO_PIN_4;
  GPIO_InitStruct.Mode = GPIO_MODE_INPUT;
  GPIO_InitStruct.Pull = GPIO_PULLUP;
  HAL_GPIO_Init(GPIOA, &GPIO_InitStruct);

  /*Configure GPIO pins : PB0 PB7 */
  GPIO_InitStruct.Pin = GPIO_PIN_0|GPIO_PIN_7;
  GPIO_InitStruct.Mode = GPIO_MODE_OUTPUT_PP;
  GPIO_InitStruct.Pull = GPIO_PULLDOWN;
  GPIO_InitStruct.Speed = GPIO_SPEED_FREQ_LOW;
  HAL_GPIO_Init(GPIOB, &GPIO_InitStruct);

  /*Configure GPIO pins : PA8 PA11 */
  GPIO_InitStruct.Pin = GPIO_PIN_8|GPIO_PIN_11;
  GPIO_InitStruct.Mode = GPIO_MODE_OUTPUT_PP;
  GPIO_InitStruct.Pull = GPIO_NOPULL;
  GPIO_InitStruct.Speed = GPIO_SPEED_FREQ_LOW;
  HAL_GPIO_Init(GPIOA, &GPIO_InitStruct);

  /*Configure GPIO pins : LD3_Pin SSD1331_CS_Pin SSD1331_DC_Pin SSD1331_RES_Pin */
  GPIO_InitStruct.Pin = LD3_Pin|SSD1331_CS_Pin|SSD1331_DC_Pin|SSD1331_RES_Pin;
  GPIO_InitStruct.Mode = GPIO_MODE_OUTPUT_PP;
  GPIO_InitStruct.Pull = GPIO_NOPULL;
  GPIO_InitStruct.Speed = GPIO_SPEED_FREQ_LOW;
  HAL_GPIO_Init(GPIOB, &GPIO_InitStruct);

}

void Error_Handler(void)
{
}
